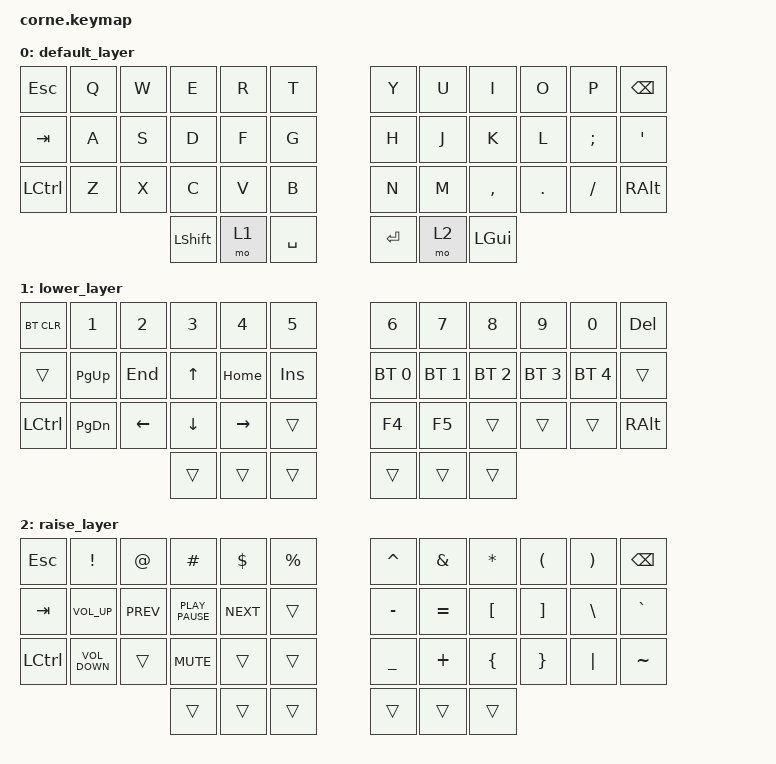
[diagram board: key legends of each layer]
/*
 * Copyright (c) 2020 The ZMK Contributors
 *
 * SPDX-License-Identifier: MIT
 */

#include <behaviors.dtsi>
#include <dt-bindings/zmk/bt.h>
#include <dt-bindings/zmk/keys.h>

/ {
    keymap {
        compatible = "zmk,keymap";

        default_layer {
            // -----------------------------------------------------------------------------------------
            // | ESC |  Q  |  W  |  E  |  R  |  T  |   |  Y  |  U   |  I  |  O  |  P  | BSPC |
            // | TAB |  A  |  S  |  D  |  F  |  G  |   |  H  |  J   |  K  |  L  |  ;  |  '   |
            // | CTRL |  Z  |  X  |  C  |  V  |  B  |   |  N  |  M   |  ,  |  .  |  /  | ALT  |
            //                    | SHFT | LWR | ENT |   | SPC | RSE  | GUI |

            bindings = <
&kp ESC    &kp Q  &kp W  &kp E           &kp R  &kp T        &kp Y    &kp U  &kp I      &kp O    &kp P     &kp BSPC
&kp TAB    &kp A  &kp S  &kp D           &kp F  &kp G        &kp H    &kp J  &kp K      &kp L    &kp SEMI  &kp SQT
&kp LCTRL  &kp Z  &kp X  &kp C           &kp V  &kp B        &kp N    &kp M  &kp COMMA  &kp DOT  &kp FSLH  &kp RALT
                         &kp LEFT_SHIFT  &mo 1  &kp SPACE    &kp RET  &mo 2  &kp LGUI
            >;
        };

        lower_layer {
            // -----------------------------------------------------------------------------------------
            // |  ESC |  1  |  2  |  3  |  4  |  5  |   |  6  |  7  |  8  |  9  |  0  | BSPC |
            // | BTCLR| BT1 | BT2 | BT3 | BT4 | BT5 |   |     |     |  UP |     |     |      |
            // | CTRL | BTCLRALL |     |     |     |     |   |     | LFT | DWN | RGT |     | ALT  |
            //                    | SHFT |     | ENT |   | SPC |     | GUI |

            bindings = <
&bt BT_CLR  &kp N1         &kp N2          &kp N3          &kp N4           &kp N5        &kp N6        &kp N7        &kp N8        &kp N9        &kp N0        &kp DEL
&trans      &kp PAGE_UP    &kp END         &kp UP_ARROW    &kp HOME         &kp INSERT    &bt BT_SEL 0  &bt BT_SEL 1  &bt BT_SEL 2  &bt BT_SEL 3  &bt BT_SEL 4  &trans
&kp LCTRL   &kp PAGE_DOWN  &kp LEFT_ARROW  &kp DOWN_ARROW  &kp RIGHT_ARROW  &trans        &kp F4        &kp F5        &trans        &trans        &trans        &kp RALT
                                           &trans          &trans           &trans        &trans        &trans        &trans
            >;
        };

        raise_layer {
            // -----------------------------------------------------------------------------------------
            // |  ESC |  !  |  @  |  #  |  $  |  %  |   |  ^  |  &  |  *  |  (  |  )  | BSPC |
            // | TAB |     |     |     |     |     |   |  -  |  =  |  [  |  ]  |  \  |  `   |
            // | CTRL |     |     |     |     |     |   |  _  |  +  |  {  |  }  | "|" |  ~   |
            //                    | SHFT |     | ENT |   | SPC |     | GUI |

            bindings = <
&kp ESC    &kp EXCL           &kp AT      &kp HASH          &kp DLLR    &kp PRCNT    &kp CARET  &kp AMPS   &kp ASTRK  &kp LPAR  &kp RPAR  &kp BSPC
&kp TAB    &kp K_VOLUME_UP    &kp K_PREV  &kp K_PLAY_PAUSE  &kp K_NEXT  &trans       &kp MINUS  &kp EQUAL  &kp LBKT   &kp RBKT  &kp BSLH  &kp GRAVE
&kp LCTRL  &kp K_VOLUME_DOWN  &trans      &kp K_MUTE        &trans      &trans       &kp UNDER  &kp PLUS   &kp LBRC   &kp RBRC  &kp PIPE  &kp TILDE
                                          &trans            &trans      &trans       &trans     &trans     &trans
            >;
        };
    };
};
